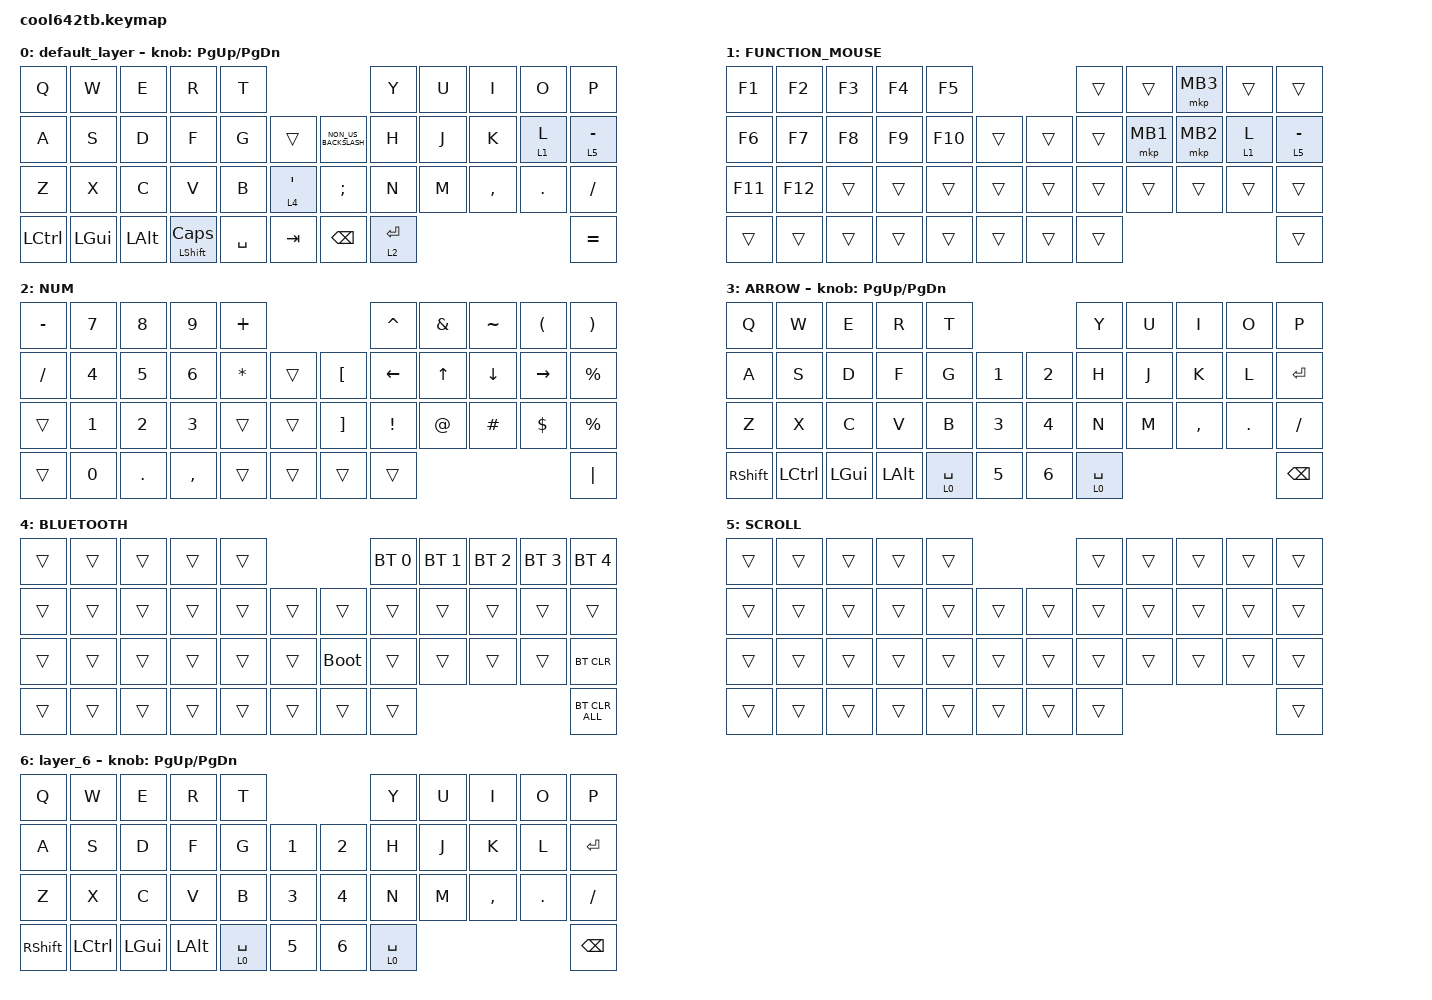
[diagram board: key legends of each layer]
#include <behaviors.dtsi>
#include <dt-bindings/zmk/bt.h>
#include <dt-bindings/zmk/keys.h>
#include <dt-bindings/zmk/pointing.h>

#define MOUSE 1
#define SCROLL 5
#define NUM 6

&mt {
    flavor = "balanced";
    quick-tap-ms = <0>;
};

/ {
    combos {
        compatible = "zmk,combos";

        comb1 {
            bindings = <&kp TAB>;
            key-positions = <11 10>;
        };

        comb2 {
            bindings = <&kp LS(ESCAPE)>;
            key-positions = <0 1>;
        };

        comb3 {
            bindings = <&kp CAPSLOCK>;
            key-positions = <22 23>;
        };

        comb4 {
            bindings = <&kp BACKSPACE>;
            key-positions = <9 8>;
        };

        comb5 {
            bindings = <&bt BT_CLR_ALL>;
            key-positions = <9 8>;
            timeout-ms = <0>;
        };
    };

    macros {
        to_layer_0: to_layer_0 {
            compatible = "zmk,behavior-macro-one-param";
            #binding-cells = <1>;
            bindings = <&to 0 &macro_param_1to1 &kp MACRO_PLACEHOLDER>;
            label = "TO_LAYER_0";
        };
    };

    behaviors {
        lt_to_layer_0: lt_to_layer_0 {
            compatible = "zmk,behavior-hold-tap";
            label = "LAYER_TAP_TO_0";
            bindings = <&mo>, <&to_layer_0>;

            #binding-cells = <2>;
            tapping-term-ms = <200>;
        };
    };

    keymap {
        compatible = "zmk,keymap";

        default_layer {
            bindings = <
&kp Q      &kp W         &kp E         &kp R                &kp T                                       &kp Y        &kp U  &kp I      &kp O       &kp P
&kp A      &kp S         &kp D         &kp F                &kp G      &trans     &kp NON_US_BACKSLASH  &kp H        &kp J  &kp K      &lt 1 L     &lt 5 MINUS
&kp Z      &kp X         &kp C         &kp V                &kp B      &lt 4 SQT  &kp SEMI              &kp N        &kp M  &kp COMMA  &kp PERIOD  &kp SLASH
&kp LCTRL  &kp LEFT_GUI  &kp LEFT_ALT  &mt LEFT_SHIFT CAPS  &kp SPACE  &kp TAB    &kp BACKSPACE         &lt 2 ENTER                                &kp EQUAL
            >;

            sensor-bindings = <&inc_dec_kp PG_UP PAGE_DOWN>;
        };

        FUNCTION_MOUSE {
            bindings = <
&kp F1   &kp F2   &kp F3  &kp F4  &kp F5                   &trans  &trans    &mkp MB3  &trans   &trans
&kp F6   &kp F7   &kp F8  &kp F9  &kp F10  &trans  &trans  &trans  &mkp MB1  &mkp MB2  &lt 1 L  &lt 5 MINUS
&kp F11  &kp F12  &trans  &trans  &trans   &trans  &trans  &trans  &trans    &trans    &trans   &trans
&trans   &trans   &trans  &trans  &trans   &trans  &trans  &trans                               &trans
            >;
        };

        NUM {
            bindings = <
&kp MINUS  &kp N7  &kp N8   &kp N9     &kp PLUS                             &kp CARET        &kp AMPS      &kp TILDE       &kp LPAR         &kp RPAR
&kp FSLH   &kp N4  &kp N5   &kp N6     &kp STAR  &trans  &kp LEFT_BRACKET   &kp LEFT_ARROW   &kp UP_ARROW  &kp DOWN_ARROW  &kp RIGHT_ARROW  &kp PRCNT
&trans     &kp N1  &kp N2   &kp N3     &trans    &trans  &kp RIGHT_BRACKET  &kp EXCLAMATION  &kp AT        &kp HASH        &kp DOLLAR       &kp PERCENT
&trans     &kp N0  &kp DOT  &kp COMMA  &trans    &trans  &trans             &trans                                                          &kp PIPE
            >;
        };

        ARROW {
            bindings = <
&kp Q       &kp W      &kp E     &kp R     &kp T                        &kp Y        &kp U  &kp I      &kp O       &kp P
&kp A       &kp S      &kp D     &kp F     &kp G        &kp N1  &kp N2  &kp H        &kp J  &kp K      &kp L       &kp ENTER
&kp Z       &kp X      &kp C     &kp V     &kp B        &kp N3  &kp N4  &kp N        &kp M  &kp COMMA  &kp PERIOD  &kp SLASH
&kp RSHIFT  &kp LCTRL  &kp LGUI  &kp LALT  &lt 0 SPACE  &kp N5  &kp N6  &lt 0 SPACE                                &kp BSPC
            >;

            sensor-bindings = <&inc_dec_kp PG_UP PAGE_DOWN>;
        };

        BLUETOOTH {
            bindings = <
&trans  &trans  &trans  &trans  &trans                       &bt BT_SEL 0  &bt BT_SEL 1  &bt BT_SEL 2  &bt BT_SEL 3  &bt BT_SEL 4
&trans  &trans  &trans  &trans  &trans  &trans  &trans       &trans        &trans        &trans        &trans        &trans
&trans  &trans  &trans  &trans  &trans  &trans  &bootloader  &trans        &trans        &trans        &trans        &bt BT_CLR
&trans  &trans  &trans  &trans  &trans  &trans  &trans       &trans                                                  &bt BT_CLR_ALL
            >;
        };

        SCROLL {
            bindings = <
&trans  &trans  &trans  &trans  &trans                  &trans  &trans  &trans  &trans  &trans
&trans  &trans  &trans  &trans  &trans  &trans  &trans  &trans  &trans  &trans  &trans  &trans
&trans  &trans  &trans  &trans  &trans  &trans  &trans  &trans  &trans  &trans  &trans  &trans
&trans  &trans  &trans  &trans  &trans  &trans  &trans  &trans                          &trans
            >;
        };

        layer_6 {
            bindings = <
&kp Q       &kp W      &kp E     &kp R     &kp T                        &kp Y        &kp U  &kp I      &kp O       &kp P
&kp A       &kp S      &kp D     &kp F     &kp G        &kp N1  &kp N2  &kp H        &kp J  &kp K      &kp L       &kp ENTER
&kp Z       &kp X      &kp C     &kp V     &kp B        &kp N3  &kp N4  &kp N        &kp M  &kp COMMA  &kp PERIOD  &kp SLASH
&kp RSHIFT  &kp LCTRL  &kp LGUI  &kp LALT  &lt 0 SPACE  &kp N5  &kp N6  &lt 0 SPACE                                &kp BSPC
            >;

            sensor-bindings = <&inc_dec_kp PG_UP PAGE_DOWN>;
        };
    };
};
